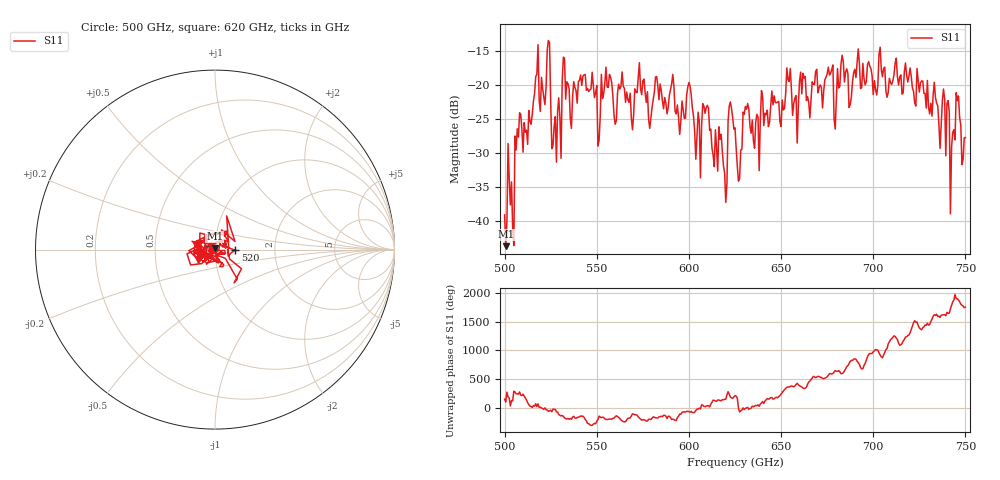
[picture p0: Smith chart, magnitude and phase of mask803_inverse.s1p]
!Created with skrf (http://scikit-rf.org).
# GHz S MA R 50.0
!freq magS11 angS11
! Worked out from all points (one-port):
!   401 points, 500 GHz to 750 GHz, reference 50 ohm
!   lowest |S11| = -43.7 dB at 500.6 GHz (marker M1), VSWR 1.01, Z = 49.8 + j0.628 ohm
!   |S11| at or under -10 dB: start of sweep to end of sweep
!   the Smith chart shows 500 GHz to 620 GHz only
!   S11 on the Smith chart (normalised r, x): 500 GHz: 0.98, +0.01; 520 GHz: 1.26, -0.01; 620 GHz: 0.98, +0.01
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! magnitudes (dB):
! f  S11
! 500 GHz  -39.1
! 500.6 GHz  -43.7
! 503.8 GHz  -34.3
! 508.1 GHz  -24.1
! 520 GHz  -18.9
! 523.8 GHz  -13.4
! 526.9 GHz  -26.1
! 531.2 GHz  -19.4
! 542.5 GHz  -18.7
! 550.6 GHz  -29.0
! 562.5 GHz  -20.6
! 579.4 GHz  -24.9
! 590.6 GHz  -19.8
! 593.8 GHz  -22.9
! 600 GHz  -19.6
! 605 GHz  -24.0
! 609.4 GHz  -23.3
! 620 GHz  -37.3
! 622.5 GHz  -22.5
! 625 GHz  -26.3
! 627.5 GHz  -33.8
! 630.6 GHz  -23.2
! 636.9 GHz  -24.3
! 656.2 GHz  -24.5
! 687.5 GHz  -22.9
! 718.8 GHz  -19.6
! 746.2 GHz  -21.6
! 750 GHz  -27.7
